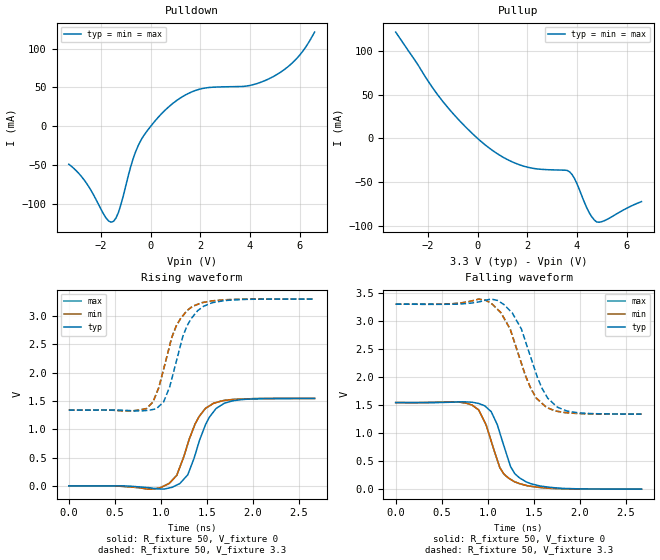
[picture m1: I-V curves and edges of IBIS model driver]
| IBIS file ex2_fast_5ps_tr200ps.ibs created by PYS2IBIS3
| Missouri S&T EMC Lab
[IBIS Ver] 7.1
[File Name] ex2_fast_5ps_tr200ps.ibs
[File Rev] 1.0
[Date] July 28, 2026
[Source] ex2 buffer.sp characterized with s2ibispy and HSPICE
[Notes] Parameter selection; sim_time=2.673e-09, tr=tf=2.000e-10.
[Disclaimer] Experimental characterization for pybis observability study.
[Component] MCM Driver 1
[Manufacturer] MegaFLOPS Inc.
[Package]
| variable   typ   min   max
R_pkg 0 NA NA
L_pkg 0H NA NA
C_pkg 0F NA NA
[Pin]  signal_name   model_name   R_pin   L_pin   C_pin
vdd   vdd   POWER
gnd   gnd   GND
| in in dummy
out   out   driver
| End of Component
| Models and submodels in the file (1): driver (Output)
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[Model] driver
Model_type Output
Polarity Non-Inverting
Enable Active-Low
Vinl  = 0.8V
Vinh  = 2V
C_comp 5.0000pF 5.0000pF 5.0000pF
[Temperature Range] 27.0000 27.0000 27.0000
[Voltage Range] 3.3000V 3.3000V 3.3000V
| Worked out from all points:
|   slope of the pulldown table from 0 to 0.495 V, typ, clamps not added: 27.4 ohm
|   slope of the pullup table from 0 to 0.495 V, typ, clamps not added: 42.7 ohm
|   rising waveform, R_fixture 50, V_fixture 0: 20-80 % time 219ps typ, 220ps min, 220ps max; typ from 0 V to 1.54 V
|   rising waveform, R_fixture 50, V_fixture 3.3: 20-80 % time 221ps typ, 220ps min, 220ps max; typ from 1.34 V to 3.3 V
|   falling waveform, R_fixture 50, V_fixture 0: 20-80 % time 202ps typ, 205ps min, 205ps max; typ from 1.54 V to 0 V
|   falling waveform, R_fixture 50, V_fixture 3.3: 20-80 % time 265ps typ, 265ps min, 265ps max; typ from 3.3 V to 1.34 V
[Pulldown]
| Voltage   I(typ)   I(min)   I(max)
-3.3V     -48.93mA   -48.93mA   -48.93mA
-2.6V     -72.86mA   -72.86mA   -72.86mA
-1.8V     -118.2mA   -118.2mA   -118.2mA
-1.5V     -122.5mA   -122.5mA   -122.5mA
-1.3V     -110.9mA   -110.9mA   -110.9mA
-500mV    -24.59mA   -24.59mA   -24.59mA
600mV     21.34mA    21.34mA    21.34mA
1.9V      47.12mA    47.12mA    47.12mA
3.9V      51.99mA    51.99mA    51.99mA
4.9V      63.38mA    63.38mA    63.38mA
5.9V      87.99mA    87.99mA    87.99mA
6.6V      121.3mA    121.3mA    121.3mA
[Pullup]
| Voltage   I(typ)   I(min)   I(max)
-3.3V     122mA      122mA      122mA
-1.9V     61.75mA    61.75mA    61.75mA
-1.3V     38.86mA    38.86mA    38.86mA
-200mV    5.278mA    5.278mA    5.278mA
700mV     -15.75mA   -15.75mA   -15.75mA
2V        -32.92mA   -32.92mA   -32.92mA
3.7V      -38.24mA   -38.24mA   -38.24mA
3.9V      -45.89mA   -45.89mA   -45.89mA
4.5V      -85.43mA   -85.43mA   -85.43mA
4.8V      -95.97mA   -95.97mA   -95.97mA
5.1V      -94.48mA   -94.48mA   -94.48mA
6.6V      -72.53mA   -72.53mA   -72.53mA
[Ramp]
| variable   typ   min   max
dV/dt_r 0.9270/0.2189n 0.9270/0.2195n 0.9270/0.2195n
dV/dt_f 1.1766/0.265n 1.1766/0.2652n 1.1766/0.2652n
R_load = 50
[Rising Waveform]
R_fixture = 50
V_fixture = 0
|time   V(typ)   V(min)   V(max)
0s        7.302nV    7.302nV    7.302nV
920.3ps   -43.41mV   -55.47mV   -55.47mV
1.121ns   -26.72mV   94.57mV    94.57mV
1.175ns   15.7mV     189.9mV    189.9mV
1.295ns   200.9mV    754.2mV    754.2mV
1.41ns    745.3mV    1.209V     1.209V
1.485ns   1.078V     1.368V     1.368V
1.57ns    1.303V     1.457V     1.457V
1.862ns   1.522V     1.534V     1.534V
2.673ns   1.545V     1.545V     1.545V
[Rising Waveform]
R_fixture = 50
V_fixture = 3.3
|time   V(typ)   V(min)   V(max)
0s        1.338V     1.338V     1.338V
762.5ps   1.324V     1.339V     1.339V
848.1ps   1.332V     1.37V      1.37V
949.7ps   1.36V      1.621V     1.621V
1.03ns    1.481V     2.049V     2.049V
1.166ns   2.176V     2.818V     2.818V
1.236ns   2.623V     2.997V     2.997V
1.346ns   2.984V     3.171V     3.171V
1.656ns   3.265V     3.283V     3.283V
2.673ns   3.3V       3.3V       3.3V
[Falling Waveform]
R_fixture = 50
V_fixture = 0
|time   V(typ)   V(min)   V(max)
0s        1.545V     1.545V     1.545V
765.1ps   1.557V     1.535V     1.535V
901.6ps   1.53V      1.416V     1.416V
965.8ps   1.49V      1.206V     1.206V
1.038ns   1.384V     855mV      855mV
1.129ns   1.023V     394.7mV    394.7mV
1.247ns   410.3mV    178.1mV    178.1mV
1.34ns    208.4mV    101mV      101mV
1.784ns   15.71mV    8.941mV    8.941mV
2.673ns   134.5uV    78.21uV    78.21uV
[Falling Waveform]
R_fixture = 50
V_fixture = 3.3
|time   V(typ)   V(min)   V(max)
0s        3.3V       3.3V       3.3V
901.6ps   3.339V     3.39V      3.39V
1.105ns   3.368V     3.213V     3.213V
1.247ns   3.182V     2.848V     2.848V
1.367ns   2.856V     2.244V     2.244V
1.469ns   2.348V     1.799V     1.799V
1.533ns   2.028V     1.619V     1.619V
1.637ns   1.664V     1.461V     1.461V
1.857ns   1.396V     1.365V     1.365V
2.673ns   1.339V     1.339V     1.339V
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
